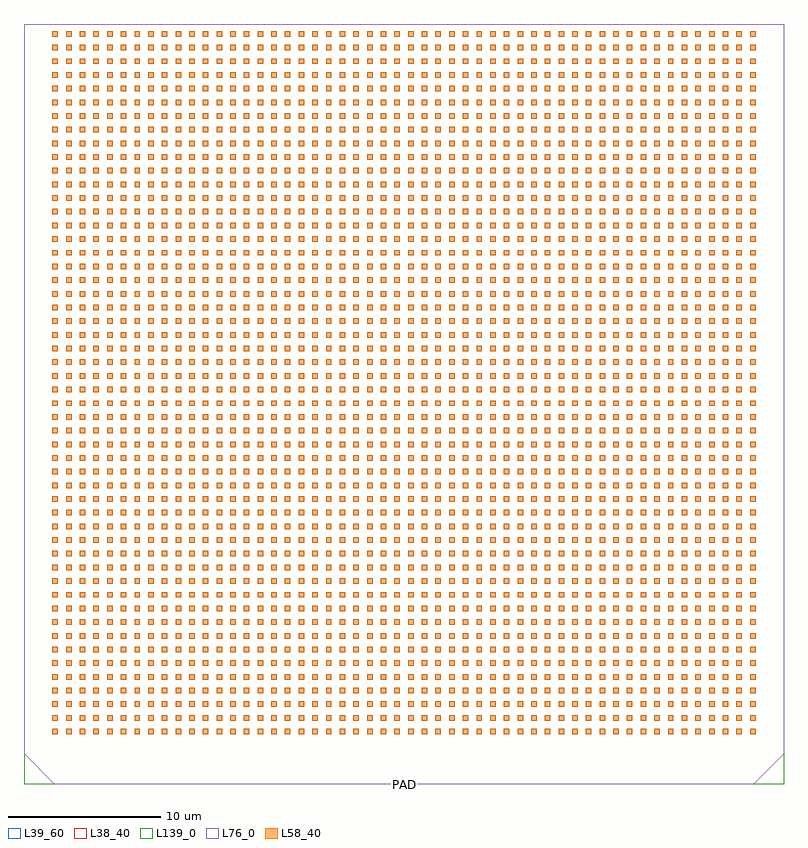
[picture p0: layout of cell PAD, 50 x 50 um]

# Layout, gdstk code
import gdstk
lib = gdstk.Library(unit=1e-6, precision=1e-09)
def R(c, l, rs):  # rectangles x0, y0, x1, y1
    for r in rs: c.add(gdstk.rectangle(r[:2], r[2:], *l))
def A(c, l, x, y, w, h, nx, ny, dx, dy):  # array of equal rectangles
    R(c, l, [(x+i*dx, y+j*dy, x+i*dx+w, y+j*dy+h) for i in range(nx) for j in range(ny)])
def P(c, l, *ps):  # polygons
    for p in ps: c.add(gdstk.Polygon(p, *l))
L38_40 = (38, 40)
L39_60 = (39, 60)
L58_40 = (58, 40)
L76_0 = (76, 0)
L139_0 = (139, 0)

m9_m8_cdns_756414013000 = lib.new_cell('M9_M8_CDNS_756414013000')
R(m9_m8_cdns_756414013000, L38_40, [(-23.21,-26.81,23.21,16.81)])
R(m9_m8_cdns_756414013000, L39_60, [(-23.43,-27.03,23.43,17.03)])
A(m9_m8_cdns_756414013000, L58_40, -23.13, -26.73, 0.36, 0.36, 52, 52, 0.9, 0.9)

pad = lib.new_cell('PAD')
P(pad, L38_40, [(0,0),(0,2),(0,50),(0,50),(50,50),(50,50),(50,2),(50,0)])
P(pad, L39_60, [(0,0),(0,2),(0,50),(0,50),(50,50),(50,50),(50,2),(50,0)])
P(pad, L76_0, [(2,0),(0,2),(0,50),(2,50),(48,50),(50,50),(50,2),(48,0)])
R(pad, L139_0, [(0,0,50,50)])
pad.add(gdstk.Reference(m9_m8_cdns_756414013000, (25,30)))
pad.add(gdstk.Label('PAD', (25,0), layer=139, texttype=0))

lib.write_gds('PAD.gds')
